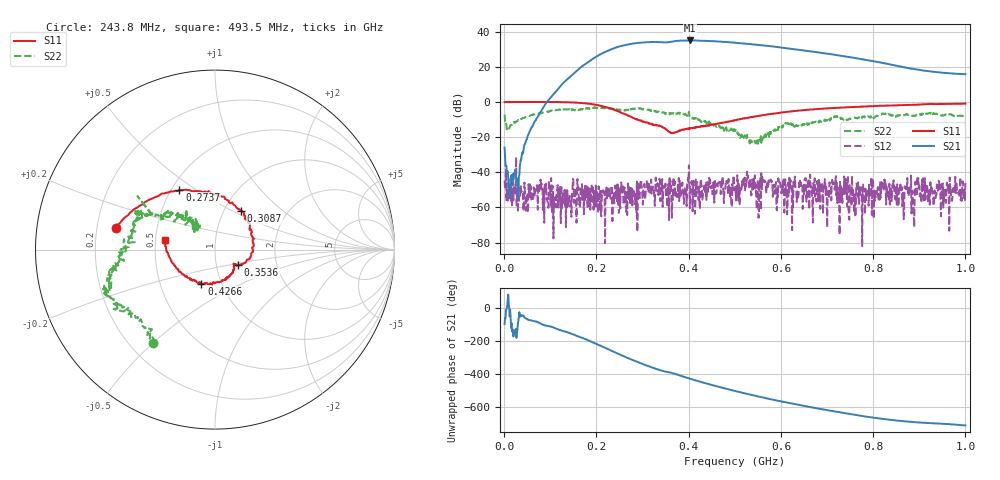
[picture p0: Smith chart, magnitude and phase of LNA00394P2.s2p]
! Created with skrf 1.9.0 (http://scikit-rf.org).
# Hz S RI R 50.0
!freq ReS11 ImS11 ReS21 ImS21 ReS12 ImS12 ReS22 ImS22
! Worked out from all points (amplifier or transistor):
!   1001 points, 1 MHz to 1 GHz, reference 50 ohm
!   highest |S21| = 35.0 dB at 403.6 MHz (marker M1)
!   |S21| within 3 dB of that: 256.1 MHz to 568.1 MHz (312 MHz wide, 75.7 % of centre)
!   unconditionally stable (mu >= 1): 205 MHz to 232.7 MHz; 232.8 MHz to 400.1 MHz; 400.9 MHz to end of sweep (the widest 3 of 44)
!   at 166.8 MHz: K = 1.24, MAG = 33.2 dB, |S12| = -52.6 dB
!   at 500.5 MHz: K = 2.29, MAG = 34.4 dB, |S12| = -47.8 dB
!   at 1 GHz: K = 2.86, MAG = 23.5 dB, |S12| = -46.1 dB
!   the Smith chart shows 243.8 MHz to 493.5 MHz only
!   S11 on the Smith chart (normalised r, x): 243.8 MHz: 0.28, +0.10; 273.7 MHz: 0.55, +0.43; 308.7 MHz: 1.20, +0.56; 353.6 MHz: 1.28, -0.23; 426.6 MHz: 0.80, -0.32; 493.5 MHz: 0.56, +0.07
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1000000  0.9867 0.0071  -0.00442 -0.05  -0.0057 4.78e-05  0.3032 0.3144
1.08892e8  0.5256 -0.8462  -0.8389 -1.547  -0.00126 0.00141  0.4163 -0.4035
1.67833e8  -0.2162 -0.9054  -10.03 -0.4991  -0.00241 -0.00253  0.0169 -0.6148
2.09791e8  -0.659 -0.411  -15.66 17.03  -0.000465 0.000355  -0.2186 -0.6403
2.43757e8  -0.5489 0.1228  0.7194 35.78  -0.000964 -0.0025  -0.3438 -0.5221
2.73727e8  -0.1982 0.3321  27.43 34.95  -0.00225 0.00282  -0.5448 -0.326
3.08692e8  0.1457 0.2158  48.7 11.7  -0.00207 0.0033  -0.5882 -0.137
3.34666e8  0.206 0.0105  49.47 -10.31  -0.000954 -0.00202  -0.5265 -0.0346
3.53647e8  0.1297 -0.0867  44.66 -21.47  -5.78e-07 0.00103  -0.474 0.0737
3.75625e8  0.1043 -0.0961  40.49 -36.69  0.00196 0.000169  -0.4236 0.1917
4.03597e8  0.0388 -0.1765  21.67 -51.76  -3.4e-05 0.00411  -0.3306 0.1967
4.26574e8  -0.0754 -0.1892  3.79 -55  0.0025 0.00599  -0.2241 0.1559
4.55545e8  -0.1987 -0.1245  -16.96 -50.32  0.00123 0.0006  -0.1442 0.1613
4.93507e8  -0.2807 0.0558  -35.41 -34.22  0.000419 -0.000944  -0.1132 0.1329
5.005e8  -0.2886 0.0948  -37.89 -30.46  0.00206 0.00352  -0.0931 0.1153
5.4046e8  -0.2333 0.3027  -42.22 -9.261  0.00535 0.000699  -0.0783 0.0131
5.88412e8  -0.0524 0.4713  -35.22 11.08  0.00405 -0.000149  -0.1232 -0.0876
6.25375e8  0.1183 0.5327  -25.1 19.74  0.00268 -0.00287  -0.1959 -0.1109
6.67333e8  0.3158 0.5223  -13.12 23.52  0.00221 -9.87e-05  -0.2486 -0.048
7.53247e8  0.6192 0.361  3.886 18  -0.000305 -0.00104  -0.3334 0.0298
8.34166e8  0.7793 0.1343  8.319 8.462  7.78e-05 -0.00152  -0.4267 0.1239
1e9  0.8005 -0.4071  6.089 1.081  -0.00472 -0.00146  -0.1313 0.3927
